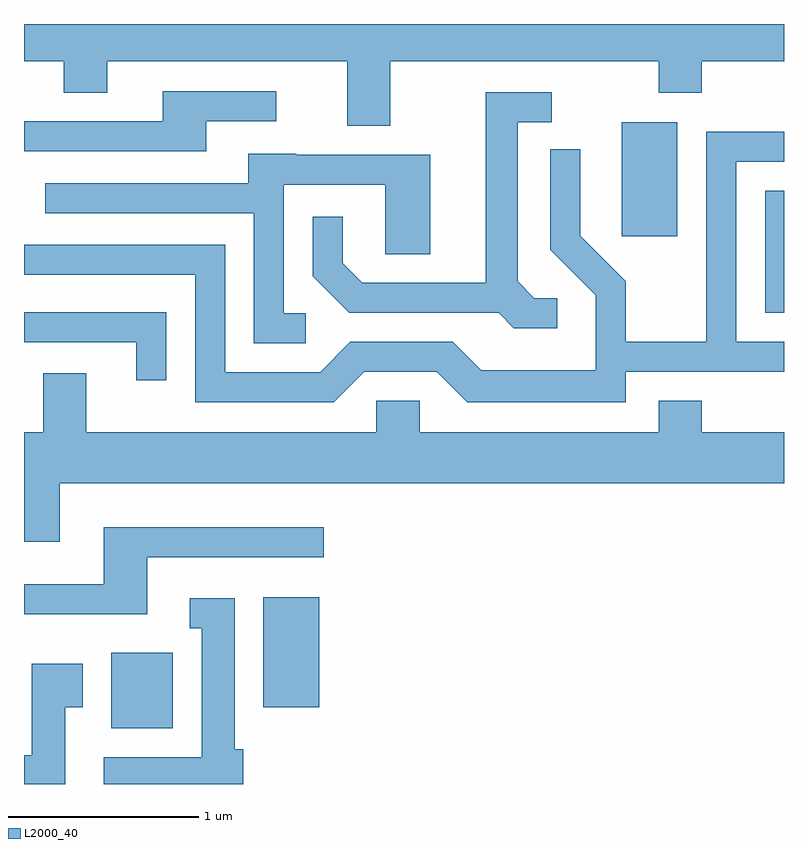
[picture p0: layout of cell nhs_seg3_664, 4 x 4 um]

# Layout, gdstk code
import gdstk
lib = gdstk.Library(unit=1e-6, precision=1e-09)
def R(c, l, rs):  # rectangles x0, y0, x1, y1
    for r in rs: c.add(gdstk.rectangle(r[:2], r[2:], *l))
def P(c, l, *ps):  # polygons
    for p in ps: c.add(gdstk.Polygon(p, *l))
L2000_40 = (2000, 40)

nhs_seg3_664 = lib.new_cell('nhs_seg3_664')
R(nhs_seg3_664, L2000_40, [(204.071,1220.186,204.394,1220.584), (204.871,1220.296,205.164,1220.874), (207.511,1222.371,207.611,1223.014), (206.756,1222.776,207.049,1223.374)])
P(nhs_seg3_664, L2000_40, [(205.539,1223.696),(206.951,1223.696),(206.951,1223.531),(207.179,1223.531),(207.179,1223.696),(207.611,1223.696),(207.611,1223.892),(203.611,1223.892),(203.611,1223.696),(203.821,1223.696),(203.821,1223.531),(204.049,1223.531),(204.049,1223.696),(205.311,1223.696),(205.311,1223.356),(205.539,1223.356)],
  [(204.569,1223.381),(204.938,1223.381),(204.938,1223.539),(204.341,1223.539),(204.341,1223.379),(203.611,1223.379),(203.611,1223.221),(204.569,1223.221)],
  [(206.418,1222.449),(206.297,1222.449),(206.209,1222.537),(206.209,1223.376),(206.388,1223.376),(206.388,1223.534),(206.041,1223.534),(206.041,1222.529),(205.392,1222.529),(205.289,1222.632),(205.289,1222.878),(205.131,1222.878),(205.131,1222.564),(205.324,1222.371),(206.109,1222.371),(206.189,1222.291),(206.418,1222.291)],
  [(205.402,1222.061),(205.784,1222.061),(205.944,1221.901),(206.779,1221.901),(206.779,1222.061),(207.611,1222.061),(207.611,1222.219),(207.359,1222.219),(207.359,1223.166),(207.611,1223.166),(207.611,1223.324),(207.201,1223.324),(207.201,1222.219),(206.779,1222.219),(206.779,1222.537),(206.539,1222.777),(206.539,1223.233),(206.381,1223.233),(206.381,1222.704),(206.621,1222.464),(206.621,1222.069),(206.017,1222.069),(205.867,1222.219),(205.329,1222.219),(205.169,1222.059),(204.669,1222.059),(204.669,1222.729),(203.611,1222.729),(203.611,1222.571),(204.511,1222.571),(204.511,1221.901),(205.242,1221.901)],
  [(205.093,1222.369),(204.979,1222.369),(204.979,1223.046),(205.511,1223.046),(205.511,1222.681),(205.749,1222.681),(205.749,1223.204),(205.045,1223.204),(205.045,1223.209),(204.791,1223.209),(204.791,1223.054),(203.723,1223.054),(203.723,1222.896),(204.821,1222.896),(204.821,1222.211),(205.093,1222.211)],
  [(204.359,1222.374),(203.611,1222.374),(203.611,1222.216),(204.201,1222.216),(204.201,1222.018),(204.359,1222.018)],
  [(203.799,1221.476),(207.611,1221.476),(207.611,1221.744),(207.179,1221.744),(207.179,1221.909),(206.951,1221.909),(206.951,1221.744),(205.694,1221.744),(205.694,1221.909),(205.466,1221.909),(205.466,1221.744),(203.939,1221.744),(203.939,1222.054),(203.711,1222.054),(203.711,1221.744),(203.611,1221.744),(203.611,1221.166),(203.799,1221.166)],
  [(204.259,1221.086),(205.188,1221.086),(205.188,1221.244),(204.031,1221.244),(204.031,1220.944),(203.611,1220.944),(203.611,1220.786),(204.259,1220.786)],
  [(204.764,1220.074),(204.719,1220.074),(204.719,1220.869),(204.483,1220.869),(204.483,1220.711),(204.546,1220.711),(204.546,1220.034),(204.031,1220.034),(204.031,1219.892),(204.764,1219.892)],
  [(203.829,1220.296),(203.919,1220.296),(203.919,1220.524),(203.651,1220.524),(203.651,1220.044),(203.611,1220.044),(203.611,1219.892),(203.829,1219.892)])

lib.write_gds('nhs_seg3_664.gds')
